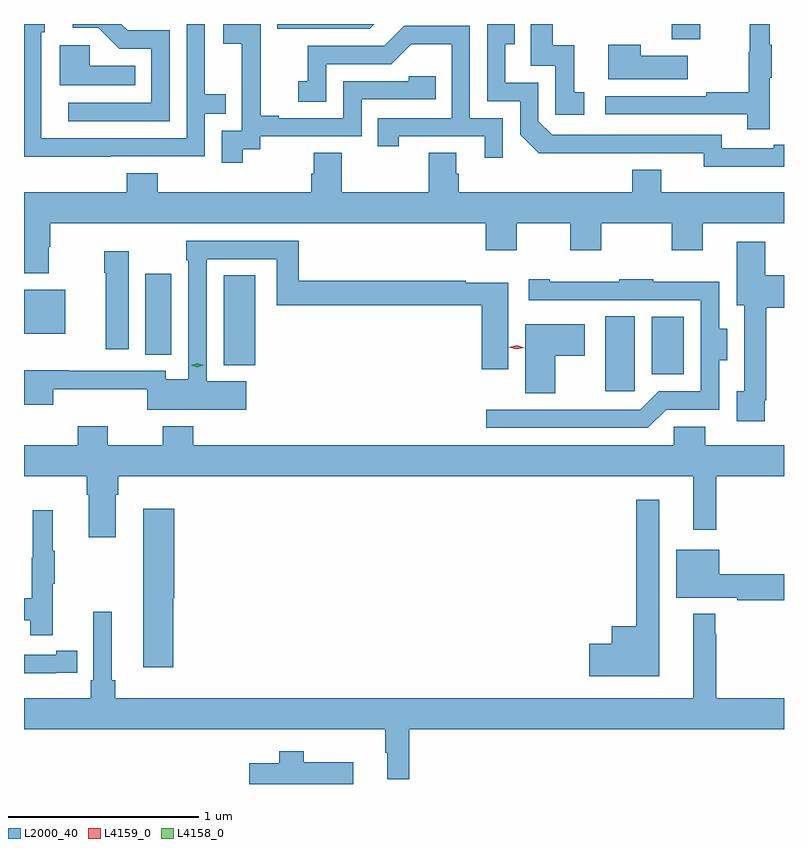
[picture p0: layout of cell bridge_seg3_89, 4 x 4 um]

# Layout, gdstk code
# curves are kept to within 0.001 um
import gdstk
lib = gdstk.Library(unit=1e-6, precision=1e-09)
def R(c, l, rs):  # rectangles x0, y0, x1, y1
    for r in rs: c.add(gdstk.rectangle(r[:2], r[2:], *l))
def P(c, l, *ps):  # polygons
    for p in ps: c.add(gdstk.Polygon(p, *l))
L2000_40 = (2000, 40)
L4158_0 = (4158, 0)
L4159_0 = (4159, 0)

bridge_seg3_89 = lib.new_cell('bridge_seg3_89')
R(bridge_seg3_89, L2000_40, [(421.739,724.007,421.894,724.403), (421.982,724.097,422.152,724.399), (419.729,724.145,419.896,724.619), (419.318,724.201,419.455,724.627), (418.679,724.31,418.897,724.543), (422.087,725.862,422.239,725.941)])
P(bridge_seg3_89, L2000_40, [(419.445,725.907),(419.226,725.907),(419.192,725.941),(418.935,725.941),(418.935,725.922),(419.069,725.922),(419.18,725.811),(419.349,725.811),(419.349,725.526),(418.911,725.526),(418.911,725.43),(419.445,725.43)],
  [(422.603,725.659),(422.614,725.659),(422.614,725.833),(422.603,725.833),(422.603,725.941),(422.5,725.941),(422.5,725.796),(422.493,725.796),(422.493,725.582),(422.269,725.582),(422.269,725.562),(421.737,725.562),(421.737,725.466),(422.485,725.466),(422.485,725.388),(422.603,725.388)],
  [(422.624,725.19),(422.679,725.19),(422.679,725.306),(422.624,725.306),(422.624,725.286),(422.352,725.286),(422.352,725.358),(421.458,725.358),(421.386,725.43),(421.386,725.631),(421.213,725.631),(421.213,725.835),(421.262,725.835),(421.262,725.941),(421.116,725.941),(421.116,725.535),(421.29,725.535),(421.29,725.358),(421.388,725.261),(422.256,725.262),(422.256,725.189)],
  [(419.83,725.281),(419.922,725.281),(419.922,725.349),(420.456,725.349),(420.456,725.544),(420.845,725.544),(420.845,725.667),(420.705,725.667),(420.705,725.64),(420.36,725.64),(420.36,725.445),(420.019,725.445),(420.019,725.458),(419.924,725.458),(419.924,725.741),(419.925,725.741),(419.925,725.941),(419.727,725.941),(419.727,725.837),(419.825,725.837),(419.825,725.609),(419.826,725.609),(419.826,725.379),(419.721,725.379),(419.721,725.211),(419.83,725.211)],
  [(421.627,725.583),(421.574,725.583),(421.574,725.83),(421.463,725.83),(421.463,725.941),(421.347,725.941),(421.347,725.721),(421.476,725.721),(421.476,725.463),(421.627,725.463)],
  [(420.523,725.941),(420.012,725.941),(420.012,725.916),(420.498,725.916)],
  [(419.135,725.244),(419.631,725.244),(419.631,725.469),(419.741,725.469),(419.741,725.57),(419.631,725.57),(419.631,725.941),(419.535,725.941),(419.535,725.34),(418.771,725.34),(418.771,725.594),(418.77,725.594),(418.77,725.898),(418.789,725.898),(418.789,725.941),(418.679,725.941),(418.679,725.243),(419.135,725.243)],
  [(421.2,725.445),(421.026,725.445),(421.026,725.931),(420.68,725.931),(420.575,725.826),(420.172,725.826),(420.172,725.641),(420.123,725.641),(420.123,725.532),(420.27,725.532),(420.27,725.73),(420.612,725.73),(420.716,725.834),(420.93,725.834),(420.93,725.445),(420.541,725.445),(420.541,725.298),(420.652,725.298),(420.652,725.349),(421.103,725.349),(421.103,725.238),(421.2,725.238)],
  [(422.173,725.773),(421.925,725.773),(421.925,725.833),(421.754,725.833),(421.754,725.651),(422.173,725.651)],
  [(419.264,725.722),(419.025,725.722),(419.025,725.83),(418.868,725.83),(418.868,725.618),(419.264,725.618)],
  [(418.81,724.769),(418.817,724.769),(418.817,724.892),(421.109,724.892),(421.109,724.749),(421.273,724.749),(421.273,724.892),(421.553,724.892),(421.553,724.749),(421.717,724.749),(421.717,724.892),(422.087,724.892),(422.087,724.749),(422.251,724.749),(422.251,724.892),(422.679,724.892),(422.679,725.056),(422.032,725.056),(422.032,725.173),(421.88,725.173),(421.88,725.056),(420.968,725.056),(420.968,725.154),(420.955,725.154),(420.955,725.264),(420.808,725.264),(420.808,725.056),(420.351,725.056),(420.351,725.264),(420.203,725.264),(420.203,725.154),(420.191,725.154),(420.191,725.056),(419.384,725.056),(419.384,725.155),(419.219,725.155),(419.219,725.056),(418.679,725.056),(418.679,724.892),(418.681,724.892),(418.681,724.629),(418.81,724.629)],
  [(419.848,724.06),(419.64,724.06),(419.64,724.704),(420.009,724.704),(420.009,724.462),(421.088,724.462),(421.088,724.125),(421.228,724.125),(421.228,724.579),(421.004,724.579),(421.004,724.591),(420.125,724.591),(420.125,724.8),(419.532,724.8),(419.532,724.697),(419.544,724.697),(419.544,724.072),(419.424,724.072),(419.424,724.116),(418.915,724.116),(418.915,724.118),(418.679,724.118),(418.679,723.936),(418.832,723.936),(418.832,724.019),(419.328,724.019),(419.328,723.911),(419.848,723.911)],
  [(422.578,723.961),(422.585,723.961),(422.585,724.448),(422.679,724.448),(422.679,724.618),(422.579,724.618),(422.579,724.795),(422.429,724.795),(422.429,724.46),(422.469,724.46),(422.469,724.009),(422.429,724.009),(422.429,723.849),(422.578,723.849)],
  [(419.23,724.744),(419.101,724.744),(419.101,724.631),(419.108,724.631),(419.108,724.23),(419.23,724.23)],
  [(422.058,723.912),(422.338,723.912),(422.338,724.172),(422.38,724.172),(422.38,724.336),(422.337,724.336),(422.337,724.585),(421.991,724.585),(421.991,724.597),(421.813,724.597),(421.813,724.585),(421.447,724.585),(421.447,724.597),(421.335,724.597),(421.335,724.488),(422.241,724.488),(422.241,724.008),(422.019,724.008),(421.923,723.912),(421.113,723.912),(421.113,723.816),(421.962,723.816)],
  [(421.474,724.196),(421.63,724.196),(421.63,724.36),(421.316,724.36),(421.316,723.997),(421.474,723.997)],
  [(419.161,723.464),(419.174,723.464),(419.174,723.56),(422.201,723.56),(422.201,723.279),(422.323,723.279),(422.323,723.56),(422.679,723.56),(422.679,723.724),(422.264,723.724),(422.264,723.822),(422.1,723.822),(422.1,723.724),(419.57,723.724),(419.57,723.823),(419.41,723.823),(419.41,723.724),(419.121,723.724),(419.121,723.823),(418.961,723.823),(418.961,723.724),(418.679,723.724),(418.679,723.56),(419.009,723.56),(419.009,723.464),(419.021,723.464),(419.021,723.24),(419.161,723.24)],
  [(422.023,723.436),(421.902,723.436),(421.902,722.77),(421.772,722.77),(421.772,722.678),(421.653,722.678),(421.653,722.507),(422.023,722.507)],
  [(419.465,722.919),(419.47,722.919),(419.47,723.391),(419.306,723.391),(419.306,722.556),(419.465,722.556)],
  [(418.829,722.995),(418.84,722.995),(418.84,723.169),(418.829,723.169),(418.829,723.382),(418.726,723.382),(418.726,723.132),(418.719,723.132),(418.719,722.918),(418.679,722.918),(418.679,722.802),(418.711,722.802),(418.711,722.724),(418.829,722.724)],
  [(422.679,723.044),(422.338,723.044),(422.338,723.175),(422.111,723.175),(422.111,722.921),(422.434,722.921),(422.434,722.908),(422.679,722.908)],
  [(418.85,722.526),(418.958,722.526),(418.958,722.642),(418.85,722.642),(418.85,722.622),(418.679,722.622),(418.679,722.525),(418.85,722.525)],
  [(422.316,722.729),(422.316,722.836),(422.201,722.836),(422.201,722.392),(419.159,722.392),(419.159,722.488),(419.14,722.488),(419.14,722.848),(419.043,722.848),(419.043,722.488),(419.03,722.488),(419.03,722.392),(418.679,722.392),(418.679,722.228),(420.579,722.228),(420.579,722.105),(420.59,722.105),(420.59,721.965),(420.707,721.965),(420.707,722.228),(422.679,722.228),(422.679,722.392),(422.323,722.392),(422.323,722.729)],
  [(420.412,722.056),(420.151,722.056),(420.151,722.113),(420.022,722.113),(420.022,722.05),(419.865,722.05),(419.865,721.941),(420.412,721.941)])
P(bridge_seg3_89, L4158_0, [(419.591,724.135),(419.556,724.145),(419.556,724.145),(419.556,724.146),(419.591,724.155),(419.626,724.146),(419.626,724.145),(419.626,724.145)])
P(bridge_seg3_89, L4159_0, [(421.271,724.229),(421.23,724.239),(421.23,724.24),(421.23,724.24),(421.272,724.249),(421.312,724.238),(421.313,724.238),(421.312,724.238)])

lib.write_gds('bridge_seg3_89.gds')
